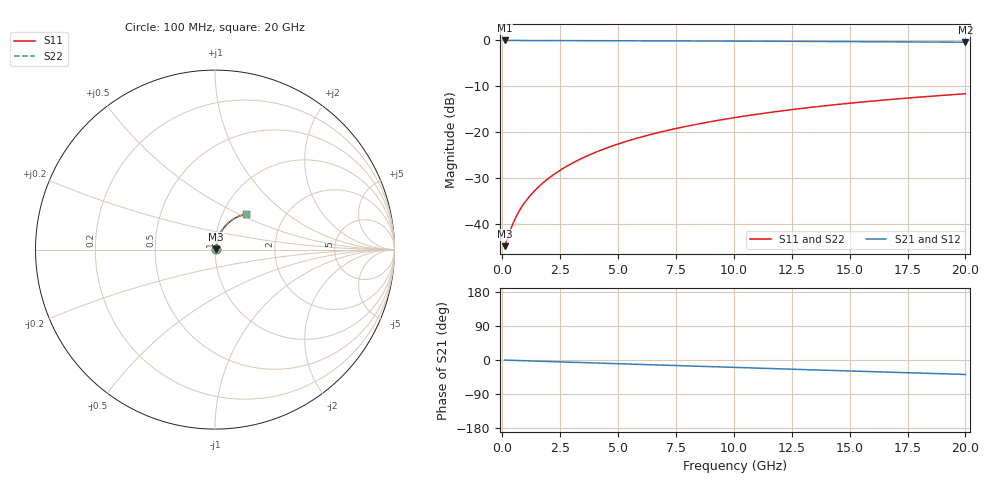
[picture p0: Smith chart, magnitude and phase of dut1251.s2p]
! Touchstone file exported from HFSS 2026.1.0
!  File:  C:/ffzhzh/LocalFiles/Ansys_Project_Files/temp_train_TMRDL_1251_1783163838_18472.aedt
!  Generated:  07:18:33 PM Jul  4, 2026
!  Design:  TMRDL
!  Project:  temp_train_TMRDL_1251_1783163838_18472
! Variables:
!  h_bsmrdl = 2um
!  h_ox = 20um
!  h_rdl = 5um
!  h_sub = 80um
!  h_tmrdl = 2.04um
!  h_tsv = 80um
!  h_via = 3um
!  l_bsmrdl = 300um
!  l_sub = 1009.02um
!  l_tmrdl = 609.02um
!  m_sub = 200um
!  pitch = 32.25um
!  r_tsv = 6um
!  s_tmrdl = 10um
!  w_bsmrdl = 18um
!  w_sub = 500um
!  w_tmrdl = 20.44um
!  x_tsv_center1 = 619.24um
!  x_tsv_center2 = 937.24um
!  x_tsv_center3 = 1566.7um
!  x_tsv_center4 = 1884.7um
!  x_tsv_center5 = 2514.16um
!  x_tsv_center6 = 2832.16um
# GHz S MA R 50.000000
! Terminal data exported
! Port[1] = TM_RDL1_1_T1
! Port[2] = TM_RDL1_1_T2
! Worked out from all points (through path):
!   200 points, 100 MHz to 20 GHz, reference 50 ohm
!   highest |S21| = -0.05 dB at 100 MHz (marker M1); lowest = -0.4 dB at 20 GHz (marker M2)
!   group delay of S21, straight-line fit = 5.3 ps
!   lowest |S11| = -44.8 dB at 100 MHz (marker M3), VSWR 1.01, Z = 50.5 + j0.183 ohm
!   |S11| at or under -10 dB: start of sweep to end of sweep
!   |S22| runs from -44.8 to -11.7 dB; largest |S21 - S12| = 3e-15
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0.1  0.005746 18.4  0.9946 -0.2  0.9946 -0.2  0.005746 18.4
! Gamma 0 0 0 0
! Port Impedance 50 0 50 0
0.2  0.006655 32.6  0.9944 -0.4  0.9944 -0.4  0.006655 32.6
0.4  0.009241 48.7  0.994 -0.9  0.994 -0.9  0.009241 48.7
0.6  0.01205 56.4  0.9935 -1.3  0.9935 -1.3  0.01205 56.4
0.7  0.01345 59.0  0.9933 -1.5  0.9933 -1.5  0.01345 59.0
0.9  0.01621 62.7  0.9929 -1.9  0.9929 -1.9  0.01621 62.7
1.1  0.01895 65.4  0.9926 -2.2  0.9926 -2.2  0.01895 65.4
1.3  0.0217 67.4  0.9924 -2.6  0.9924 -2.6  0.0217 67.4
1.8  0.02864 70.8  0.9919 -3.6  0.9919 -3.6  0.02864 70.8
2.3  0.03569 72.7  0.9915 -4.6  0.9915 -4.6  0.03569 72.7
2.9  0.04424 73.8  0.991 -5.8  0.991 -5.8  0.04424 73.8
3.5  0.05284 74.1  0.9905 -6.9  0.9905 -6.9  0.05284 74.1
4.2  0.06288 74.1  0.9897 -8.3  0.9897 -8.3  0.06288 74.0
5  0.07432 73.5  0.9887 -9.9  0.9887 -9.9  0.07432 73.5
5.9  0.08711 72.6  0.9874 -11.6  0.9874 -11.6  0.08712 72.6
6.8  0.09979 71.4  0.9859 -13.4  0.9859 -13.4  0.09979 71.4
8.3  0.1206 69.2  0.9832 -16.3  0.9832 -16.3  0.1206 69.2
10.1  0.1448 66.3  0.9793 -19.7  0.9793 -19.7  0.1449 66.2
11.7  0.1657 63.5  0.9754 -22.8  0.9754 -22.8  0.1657 63.5
13.4  0.1871 60.6  0.9709 -26.0  0.9709 -26.0  0.1871 60.5
16.7  0.2261 54.7  0.9615 -32.1  0.9615 -32.1  0.2261 54.7
20  0.2614 49.0  0.9516 -38.1  0.9516 -38.1  0.2614 48.9
